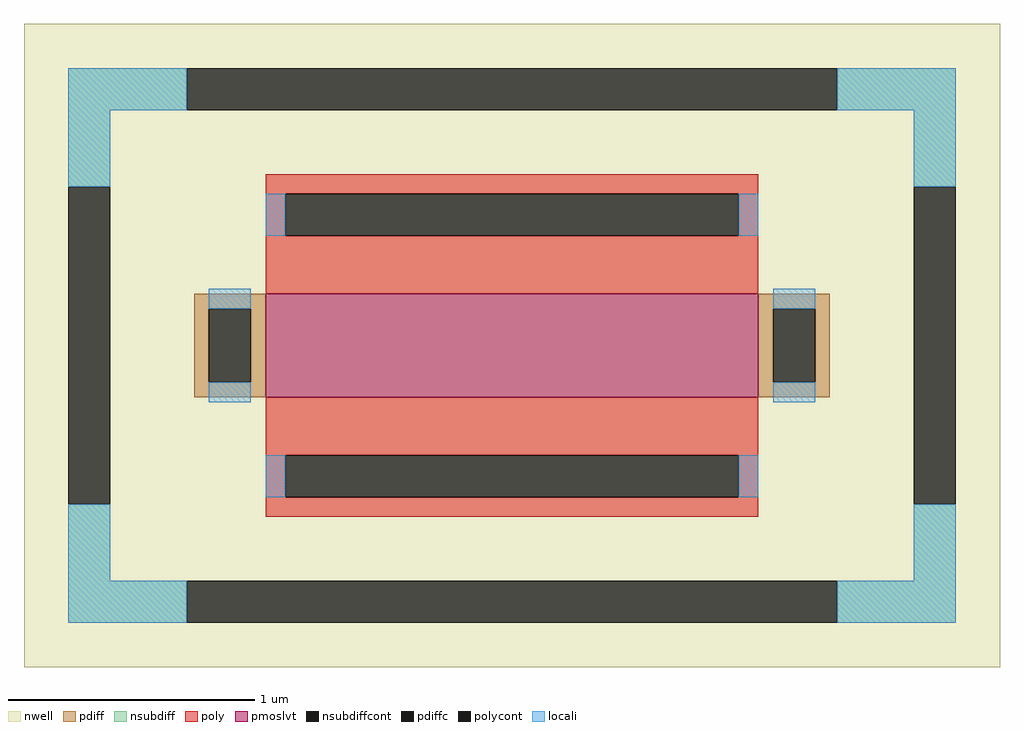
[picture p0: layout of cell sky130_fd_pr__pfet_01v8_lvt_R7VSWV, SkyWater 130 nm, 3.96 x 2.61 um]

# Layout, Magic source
magic
tech sky130A
magscale 1 2
<< nwell >>
rect -396 -261 396 261
<< pmoslvt >>
rect -200 -42 200 42
<< pdiff >>
rect -258 30 -200 42
rect -258 -30 -246 30
rect -212 -30 -200 30
rect -258 -42 -200 -30
rect 200 30 258 42
rect 200 -30 212 30
rect 246 -30 258 30
rect 200 -42 258 -30
<< pdiffc >>
rect -246 -30 -212 30
rect 212 -30 246 30
<< nsubdiff >>
rect -360 191 -264 225
rect 264 191 360 225
rect -360 129 -326 191
rect 326 129 360 191
rect -360 -191 -326 -129
rect 326 -191 360 -129
rect -360 -225 -264 -191
rect 264 -225 360 -191
<< nsubdiffcont >>
rect -264 191 264 225
rect -360 -129 -326 129
rect 326 -129 360 129
rect -264 -225 264 -191
<< poly >>
rect -200 123 200 139
rect -200 89 -184 123
rect 184 89 200 123
rect -200 42 200 89
rect -200 -89 200 -42
rect -200 -123 -184 -89
rect 184 -123 200 -89
rect -200 -139 200 -123
<< polycont >>
rect -184 89 184 123
rect -184 -123 184 -89
<< locali >>
rect -360 191 -264 225
rect 264 191 360 225
rect -360 129 -326 191
rect 326 129 360 191
rect -200 89 -184 123
rect 184 89 200 123
rect -246 30 -212 46
rect -246 -46 -212 -30
rect 212 30 246 46
rect 212 -46 246 -30
rect -200 -123 -184 -89
rect 184 -123 200 -89
rect -360 -191 -326 -129
rect 326 -191 360 -129
rect -360 -225 -264 -191
rect 264 -225 360 -191
<< properties >>
string gencell sky130_fd_pr__pfet_01v8_lvt
string FIXED_BBOX -343 -208 343 208
string parameters w 0.42 l 2 m 1 nf 1 diffcov 100 polycov 100 guard 1 glc 1 grc 1 gtc 1 gbc 1 tbcov 100 rlcov 100 topc 1 botc 1 poverlap 0 doverlap 1 lmin 0.35 wmin 0.42 compatible {sky130_fd_pr__pfet_01v8  sky130_fd_pr__pfet_01v8_lvt sky130_fd_pr__pfet_01v8_hvt  sky130_fd_pr__pfet_g5v0d10v5} full_metal 1
string library sky130
<< end >>
